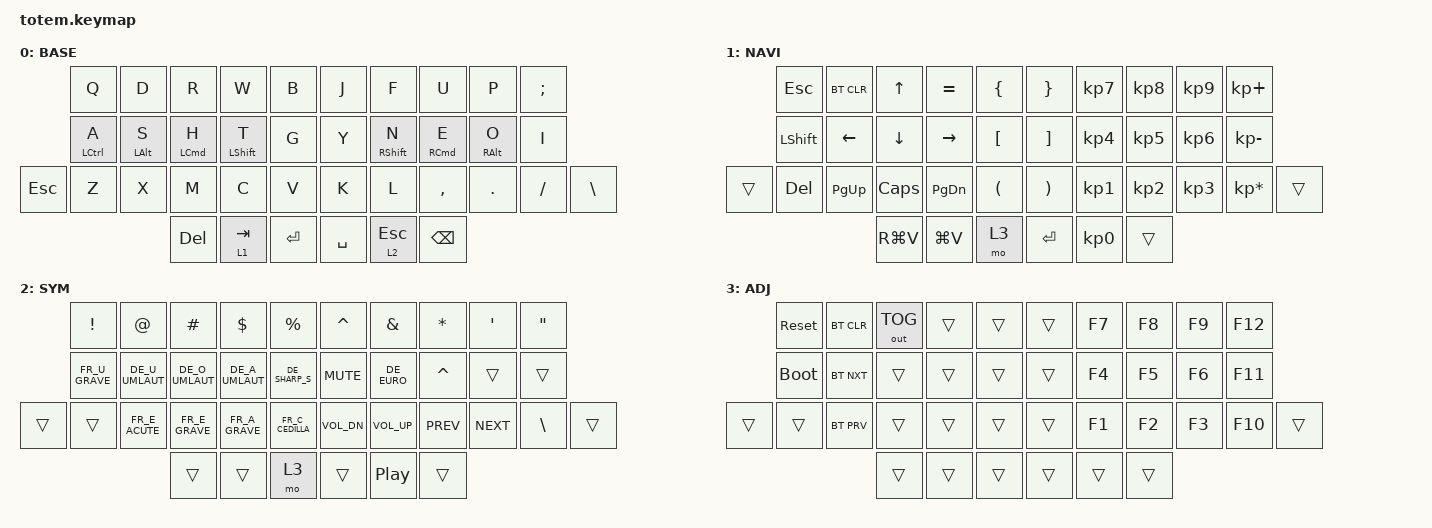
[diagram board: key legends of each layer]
//
//                                                        ▀▀▀▀▀     ▀▀▀▀▀          ▀▀█▀▀
//                                                        ▄▀▀▀▄  ▄  ▄▀▀▀▄  ▄  ▄▀▀▀▄  █  ▄▀▀▀▄
//                                                        █   █  █  █   █  █  █   █  █  █   █
//                                                         ▀▀▀   █   ▀▀▀   █   ▀▀▀   ▀   ▀▀▀
//                                                               █      ▄▄▄█▄▄▄    █   █  
//                                                               ▀      █  █  █     █▄█
//                                                             ▀▀▀▀▀    █  █  █      ▀
//                                                                      ▀  ▀  ▀
//
// ▄▄▄▄▄▄▄▄▄▄▄▄▄▄▄▄▄▄▄▄▄▄▄▄▄▄▄▄▄▄▄▄▄▄▄▄▄▄▄▄▄▄▄▄▄▄▄▄▄▄▄▄▄▄▄▄▄▄▄▄▄▄▄▄▄▄▄▄▄▄▄▄▄▄▄▄▄▄▄▄▄▄▄▄▄▄▄▄▄▄▄▄▄▄▄▄▄▄▄▄▄▄▄▄▄▄▄▄▄▄▄▄▄▄▄▄▄▄▄▄▄▄▄▄▄▄▄▄▄▄▄▄▄▄▄▄▄▄▄▄▄▄▄▄▄▄▄▄▄

#include "keys_de.h"
#include "keys_fr.h"
#include <behaviors.dtsi>
#include <dt-bindings/zmk/bt.h>
#include <dt-bindings/zmk/keys.h>
#include <dt-bindings/zmk/outputs.h>

#define BASE 0
#define NAV  1
#define SYM  2

&mt {
    quick-tap-ms = <100>;
    global-quick-tap;
    flavor = "tap-preferred";
    tapping-term-ms = <170>;
};

/ {
    combos {
        compatible = "zmk,combos";

        combo_esc {
            timeout-ms = <50>;
            key-positions = <0 1>;
            bindings = <&kp ESC>;
        };

        combo_tvp {
            timeout-ms = <100>;
            key-positions = <11 12 13>;
            bindings = <&tog 0>;
        };
    };

    keymap {
        compatible = "zmk,keymap";

        // ▄▄▄▄▄▄▄▄▄▄▄▄▄▄▄▄▄▄▄▄▄▄▄▄▄▄▄▄▄▄▄▄▄▄▄▄▄▄▄▄▄▄▄▄▄▄▄▄▄▄▄▄▄▄▄▄▄▄▄▄▄▄▄▄▄▄▄▄▄▄▄▄▄▄▄▄▄▄▄▄▄▄▄▄▄▄▄▄▄▄▄▄▄▄▄▄▄▄▄▄▄▄▄▄▄▄▄▄▄▄▄▄▄▄▄▄▄▄▄▄▄▄▄▄▄▄▄▄▄▄▄▄▄▄▄▄▄▄▄▄▄▄▄▄▄▄▄▄▄

        base_layer {
            // ┏━━━━━━━━━━━━━━━━━━━━━━━━━━━━━━━━━━━━━━━┓

            label = "BASE";

            // ┗━━━━━━━━━━━━━━━━━━━━━━━━━━━━━━━━━━━━━━━┛
            //             ┏━━━━━━━━━━━┳━━━━━━━━━━━┳━━━━━━━━━━━┳━━━━━━━━━━━┳━━━━━━━━━━━┓   ┏━━━━━━━━━━━┳━━━━━━━━━━━┳━━━━━━━━━━━┳━━━━━━━━━━━┳━━━━━━━━━━━┓
            //             ┃     Q     ┃     W     ┃     F     ┃     P     ┃     G     ┃   ┃     J     ┃     L     ┃     U     ┃     Y     ┃     ;     ┃
            //             ┣━━━━━━━━━━━╋━━━━━━━━━━━╋━━━━━━━━━━━╋━━━━━━━━━━━╋━━━━━━━━━━━┫   ┣━━━━━━━━━━━╋━━━━━━━━━━━╋━━━━━━━━━━━╋━━━━━━━━━━━╋━━━━━━━━━━━┫
            //             ┃     A     ┃     R     ┃     S     ┃     T     ┃     D     ┃   ┃     H     ┃     N     ┃     E     ┃     I     ┃     O     ┃
            // ┏━━━━━━━━━━━╋━━━━━━━━━━━╋━━━━━━━━━━━╋━━━━━━━━━━━╋━━━━━━━━━━━╋━━━━━━━━━━━┫   ┣━━━━━━━━━━━╋━━━━━━━━━━━╋━━━━━━━━━━━╋━━━━━━━━━━━╋━━━━━━━━━━━╋━━━━━━━━━━━┓
            // ┃     Q     ┃     Z     ┃     X     ┃     C     ┃     V     ┃     B     ┃   ┃     K     ┃     M     ┃     ,     ┃     .     ┃     /     ┃     \     ┃
            // ┗━━━━━━━━━━━┻━━━━━━━━━━━┻━━━━━━━━━━━╋━━━━━━━━━━━╋━━━━━━━━━━━╋━━━━━━━━━━━┫   ┣━━━━━━━━━━━╋━━━━━━━━━━━╋━━━━━━━━━━━╋━━━━━━━━━━━┻━━━━━━━━━━━┻━━━━━━━━━━━┛
            //                                     ┃    DEL    ┃    TAB    ┃    SPC    ┃   ┃   ENTER   ┃           ┃   BSPC    ┃
            //                                     ┗━━━━━━━━━━━┻━━━━━━━━━━━┻━━━━━━━━━━━┛   ┗━━━━━━━━━━━┻━━━━━━━━━━━┻━━━━━━━━━━━┛

            bindings = <
         &kp Q        &kp D       &kp R               &kp W        &kp B      &kp J      &kp F        &kp U                &kp P       &kp SEMI
         &mt LCTRL A  &mt LALT S  &mt LEFT_COMMAND H  &mt LSHFT T  &kp G      &kp Y      &mt RSHFT N  &mt RIGHT_COMMAND E  &mt RALT O  &kp I
&kp ESC  &kp Z        &kp X       &kp M               &kp C        &kp V      &kp K      &kp L        &kp COMMA            &kp DOT     &kp FSLH  &kp BSLH
                                  &kp DEL             &lt 1 TAB    &kp RET    &kp SPACE  &lt 2 ESC    &kp BSPC
            >;
        };

        // ▄▄▄▄▄▄▄▄▄▄▄▄▄▄▄▄▄▄▄▄▄▄▄▄▄▄▄▄▄▄▄▄▄▄▄▄▄▄▄▄▄▄▄▄▄▄▄▄▄▄▄▄▄▄▄▄▄▄▄▄▄▄▄▄▄▄▄▄▄▄▄▄▄▄▄▄▄▄▄▄▄▄▄▄▄▄▄▄▄▄▄▄▄▄▄▄▄▄▄▄▄▄▄▄▄▄▄▄▄▄▄▄▄▄▄▄▄▄▄▄▄▄▄▄▄▄▄▄▄▄▄▄▄▄▄▄▄▄▄▄▄▄▄▄▄▄▄▄▄

        nav_layer {
            // ┏━━━━━━━━━━━━━━━━━━━━━━━━━━━━━━━━━━━━━━━┓

            label = "NAVI";

            // ┗━━━━━━━━━━━━━━━━━━━━━━━━━━━━━━━━━━━━━━━┛
            //             ┏━━━━━━━━━━━┳━━━━━━━━━━━┳━━━━━━━━━━━┳━━━━━━━━━━━┳━━━━━━━━━━━┓   ┏━━━━━━━━━━━┳━━━━━━━━━━━┳━━━━━━━━━━━┳━━━━━━━━━━━┳━━━━━━━━━━━┓
            //             ┃           ┃           ┃     UP    ┃           ┃     {     ┃   ┃     }     ┃     7     ┃     8     ┃     9     ┃     +     ┃
            //             ┣━━━━━━━━━━━╋━━━━━━━━━━━╋━━━━━━━━━━━╋━━━━━━━━━━━╋━━━━━━━━━━━┫   ┣━━━━━━━━━━━╋━━━━━━━━━━━╋━━━━━━━━━━━╋━━━━━━━━━━━╋━━━━━━━━━━━┫
            //             ┃   SHIFT   ┃   LEFT    ┃    DOWN   ┃   RIGHT   ┃     [     ┃   ┃     ]     ┃     4     ┃     5     ┃     6     ┃     -     ┃
            // ┏━━━━━━━━━━━╋━━━━━━━━━━━╋━━━━━━━━━━━╋━━━━━━━━━━━╋━━━━━━━━━━━╋━━━━━━━━━━━┫   ┣━━━━━━━━━━━╋━━━━━━━━━━━╋━━━━━━━━━━━╋━━━━━━━━━━━╋━━━━━━━━━━━╋━━━━━━━━━━━┓
            // ┃           ┃           ┃   P UP    ┃  C LOCK   ┃  P DOWN   ┃     (     ┃   ┃     )     ┃     1     ┃     2     ┃     3     ┃     *     ┃           ┃
            // ┗━━━━━━━━━━━┻━━━━━━━━━━━┻━━━━━━━━━━━╋━━━━━━━━━━━╋━━━━━━━━━━━╋━━━━━━━━━━━┫   ┣━━━━━━━━━━━╋━━━━━━━━━━━╋━━━━━━━━━━━╋━━━━━━━━━━━┻━━━━━━━━━━━┻━━━━━━━━━━━┛
            //                                     ┃           ┃    TAB    ┃    SPC    ┃   ┃    DEL    ┃     0     ┃           ┃
            //                                     ┗━━━━━━━━━━━┻━━━━━━━━━━━┻━━━━━━━━━━━┛   ┗━━━━━━━━━━━┻━━━━━━━━━━━┻━━━━━━━━━━━┛

            bindings = <
        &kp ESC    &bt BT_CLR  &kp UP     &kp EQUAL  &kp LBRC    &kp RBRC   &kp KP_N7  &kp KP_N8  &kp KP_N9  &kp KP_PLUS
        &kp LSHFT  &kp LEFT    &kp DOWN   &kp RIGHT  &kp LBKT    &kp RBKT   &kp KP_N4  &kp KP_N5  &kp KP_N6  &kp KP_MINUS
&trans  &kp DEL    &kp PG_UP   &kp CAPS   &kp PG_DN  &kp LPAR    &kp RPAR   &kp KP_N1  &kp KP_N2  &kp KP_N3  &kp KP_MULTIPLY  &trans
                               &kp RG(V)  &kp LG(V)  &mo 3       &kp ENTER  &kp KP_N0  &trans
            >;
        };

        // ▄▄▄▄▄▄▄▄▄▄▄▄▄▄▄▄▄▄▄▄▄▄▄▄▄▄▄▄▄▄▄▄▄▄▄▄▄▄▄▄▄▄▄▄▄▄▄▄▄▄▄▄▄▄▄▄▄▄▄▄▄▄▄▄▄▄▄▄▄▄▄▄▄▄▄▄▄▄▄▄▄▄▄▄▄▄▄▄▄▄▄▄▄▄▄▄▄▄▄▄▄▄▄▄▄▄▄▄▄▄▄▄▄▄▄▄▄▄▄▄▄▄▄▄▄▄▄▄▄▄▄▄▄▄▄▄▄▄▄▄▄▄▄▄▄▄▄▄▄

        sim_layer {
            // ┏━━━━━━━━━━━━━━━━━━━━━━━━━━━━━━━━━━━━━━━┓

            label = "SYM";

            // ┗━━━━━━━━━━━━━━━━━━━━━━━━━━━━━━━━━━━━━━━┛
            //             ┏━━━━━━━━━━━┳━━━━━━━━━━━┳━━━━━━━━━━━┳━━━━━━━━━━━┳━━━━━━━━━━━┓   ┏━━━━━━━━━━━┳━━━━━━━━━━━┳━━━━━━━━━━━┳━━━━━━━━━━━┳━━━━━━━━━━━┓
            //             ┃     !     ┃     @     ┃     #     ┃     $     ┃     %     ┃   ┃     ˆ     ┃     &     ┃     Ü     ┃     '     ┃     "     ┃
            //             ┣━━━━━━━━━━━╋━━━━━━━━━━━╋━━━━━━━━━━━╋━━━━━━━━━━━╋━━━━━━━━━━━┫   ┣━━━━━━━━━━━╋━━━━━━━━━━━╋━━━━━━━━━━━╋━━━━━━━━━━━╋━━━━━━━━━━━┫
            //             ┃     Ä     ┃           ┃    SZ     ┃           ┃           ┃   ┃   MUTE    ┃   YEN     ┃   EURO    ┃  POUND    ┃     Ö     ┃
            // ┏━━━━━━━━━━━╋━━━━━━━━━━━╋━━━━━━━━━━━╋━━━━━━━━━━━╋━━━━━━━━━━━╋━━━━━━━━━━━┫   ┣━━━━━━━━━━━╋━━━━━━━━━━━╋━━━━━━━━━━━╋━━━━━━━━━━━╋━━━━━━━━━━━╋━━━━━━━━━━━┓
            // ┃           ┃  EMAIL1   ┃  EMAIL2   ┃           ┃           ┃           ┃   ┃   VOL-    ┃   VOL+    ┃   LAST    ┃   NEXT    ┃     \     ┃           ┃
            // ┗━━━━━━━━━━━┻━━━━━━━━━━━┻━━━━━━━━━━━╋━━━━━━━━━━━╋━━━━━━━━━━━╋━━━━━━━━━━━┫   ┣━━━━━━━━━━━╋━━━━━━━━━━━╋━━━━━━━━━━━╋━━━━━━━━━━━┻━━━━━━━━━━━┻━━━━━━━━━━━┛
            //                                     ┃           ┃    GIF    ┃    ADJ    ┃   ┃           ┃           ┃           ┃
            //                                     ┗━━━━━━━━━━━┻━━━━━━━━━━━┻━━━━━━━━━━━┛   ┗━━━━━━━━━━━┻━━━━━━━━━━━┻━━━━━━━━━━━┛

            bindings = <
        &kp EXCL        &kp AT           &kp HASH         &kp DLLR         &kp PRCNT           &kp CARET     &kp AMPS      &kp ASTERISK  &kp SQT     &kp DQT
        &kp FR_U_GRAVE  &kp DE_U_UMLAUT  &kp DE_O_UMLAUT  &kp DE_A_UMLAUT  &kp DE_SHARP_S      &kp C_MUTE    &kp DE_EURO   &kp CARET     &trans      &trans
&trans  &trans          &kp FR_E_ACUTE   &kp FR_E_GRAVE   &kp FR_A_GRAVE   &kp FR_C_CEDILLA    &kp C_VOL_DN  &kp C_VOL_UP  &kp C_PREV    &kp C_NEXT  &kp BSLH  &trans
                                         &trans           &trans           &mo 3               &trans        &kp C_PP      &trans
            >;
        };

        // ▄▄▄▄▄▄▄▄▄▄▄▄▄▄▄▄▄▄▄▄▄▄▄▄▄▄▄▄▄▄▄▄▄▄▄▄▄▄▄▄▄▄▄▄▄▄▄▄▄▄▄▄▄▄▄▄▄▄▄▄▄▄▄▄▄▄▄▄▄▄▄▄▄▄▄▄▄▄▄▄▄▄▄▄▄▄▄▄▄▄▄▄▄▄▄▄▄▄▄▄▄▄▄▄▄▄▄▄▄▄▄▄▄▄▄▄▄▄▄▄▄▄▄▄▄▄▄▄▄▄▄▄▄▄▄▄▄▄▄▄▄▄▄▄▄▄▄▄▄

        adjust_layer {
            // ┏━━━━━━━━━━━━━━━━━━━━━━━━━━━━━━━━━━━━━━━┓

            label = "ADJ";

            // ┗━━━━━━━━━━━━━━━━━━━━━━━━━━━━━━━━━━━━━━━┛
            //             ┏━━━━━━━━━━━┳━━━━━━━━━━━┳━━━━━━━━━━━┳━━━━━━━━━━━┳━━━━━━━━━━━┓   ┏━━━━━━━━━━━┳━━━━━━━━━━━┳━━━━━━━━━━━┳━━━━━━━━━━━┳━━━━━━━━━━━┓
            //             ┃   RESET   ┃ BT CLEAR  ┃  OUT TOG  ┃           ┃           ┃   ┃           ┃    F7     ┃    F8     ┃    F9     ┃    F12    ┃
            //             ┣━━━━━━━━━━━╋━━━━━━━━━━━╋━━━━━━━━━━━╋━━━━━━━━━━━╋━━━━━━━━━━━┫   ┣━━━━━━━━━━━╋━━━━━━━━━━━╋━━━━━━━━━━━╋━━━━━━━━━━━╋━━━━━━━━━━━┫
            //             ┃ BOOTLOAD  ┃ BT NEXT   ┃           ┃           ┃           ┃   ┃           ┃    F4     ┃    F5     ┃    F6     ┃    F11    ┃
            // ┏━━━━━━━━━━━╋━━━━━━━━━━━╋━━━━━━━━━━━╋━━━━━━━━━━━╋━━━━━━━━━━━╋━━━━━━━━━━━┫   ┣━━━━━━━━━━━╋━━━━━━━━━━━╋━━━━━━━━━━━╋━━━━━━━━━━━╋━━━━━━━━━━━╋━━━━━━━━━━━┓
            // ┃           ┃           ┃ BT PREV   ┃           ┃           ┃           ┃   ┃           ┃    F1     ┃    F2     ┃    F3     ┃    F10    ┃           ┃
            // ┗━━━━━━━━━━━┻━━━━━━━━━━━┻━━━━━━━━━━━╋━━━━━━━━━━━╋━━━━━━━━━━━╋━━━━━━━━━━━┫   ┣━━━━━━━━━━━╋━━━━━━━━━━━╋━━━━━━━━━━━╋━━━━━━━━━━━┻━━━━━━━━━━━┻━━━━━━━━━━━┛
            //                                     ┃           ┃           ┃           ┃   ┃           ┃           ┃           ┃
            //                                     ┗━━━━━━━━━━━┻━━━━━━━━━━━┻━━━━━━━━━━━┛   ┗━━━━━━━━━━━┻━━━━━━━━━━━┻━━━━━━━━━━━┛

            bindings = <
        &sys_reset   &bt BT_CLR  &out OUT_TOG  &trans  &trans    &trans  &kp F7  &kp F8  &kp F9  &kp F12
        &bootloader  &bt BT_NXT  &trans        &trans  &trans    &trans  &kp F4  &kp F5  &kp F6  &kp F11
&trans  &trans       &bt BT_PRV  &trans        &trans  &trans    &trans  &kp F1  &kp F2  &kp F3  &kp F10  &trans
                                 &trans        &trans  &trans    &trans  &trans  &trans
            >;
        };

        // ▄▄▄▄▄▄▄▄▄▄▄▄▄▄▄▄▄▄▄▄▄▄▄▄▄▄▄▄▄▄▄▄▄▄▄▄▄▄▄▄▄▄▄▄▄▄▄▄▄▄▄▄▄▄▄▄▄▄▄▄▄▄▄▄▄▄▄▄▄▄▄▄▄▄▄▄▄▄▄▄▄▄▄▄▄▄▄▄▄▄▄▄▄▄▄▄▄▄▄▄▄▄▄▄▄▄▄▄▄▄▄▄▄▄▄▄▄▄▄▄▄▄▄▄▄▄▄▄▄▄▄▄▄▄▄▄▄▄▄▄▄▄▄▄▄▄▄▄▄
        // ▄▄▄▄▄▄▄▄▄▄▄▄▄▄▄▄▄▄▄▄▄▄▄▄▄▄▄▄▄▄▄▄▄▄▄▄▄▄▄▄▄▄▄▄▄▄▄▄▄▄▄▄▄▄▄▄▄▄▄▄▄▄▄▄▄▄▄▄▄▄▄▄▄▄▄▄▄▄▄▄▄▄▄▄▄▄▄▄▄▄▄▄▄▄▄▄▄▄▄▄▄▄▄▄▄▄▄▄▄▄▄▄▄▄▄▄▄▄▄▄▄▄▄▄▄▄▄▄▄▄▄▄▄▄▄▄▄▄▄▄▄▄▄▄▄▄▄▄▄
    };
};
